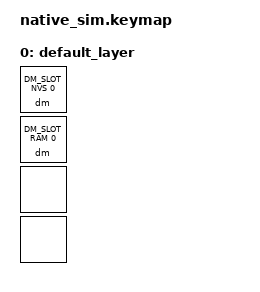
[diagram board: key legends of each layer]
/*
 * Copyright (c) 2026 The ZMK Contributors
 * SPDX-License-Identifier: MIT
 *
 * Test: Attempt to play an empty slot.
 *
 * Sequence:
 * 1. Press slot 0 (never recorded anything)
 *
 * Expected: No playback, error feedback (if enabled)
 */

#include "../behavior_keymap.dtsi"

/ {
    keymap {
        compatible = "zmk,keymap";
        default_layer {
            bindings = <
                &dm DM_SLOT_NVS 0   /* 0,0 */
                &dm DM_SLOT_RAM 0   /* 0,1 */
                &none               /* 1,0 */
                &none               /* 1,1 */
            >;
        };
    };
};

&kscan {
    events = <
        /* Try to play empty NVS slot */
        ZMK_MOCK_PRESS(0,0,100)
        ZMK_MOCK_RELEASE(0,0,10)

        /* Try to play empty RAM slot */
        ZMK_MOCK_PRESS(0,1,500)
        ZMK_MOCK_RELEASE(0,1,10)
    >;
};
